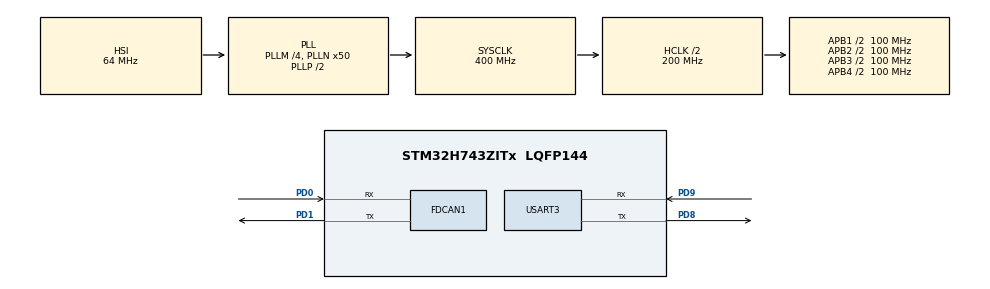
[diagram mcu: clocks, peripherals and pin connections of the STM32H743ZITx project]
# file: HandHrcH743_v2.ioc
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CORTEX_M7.default_mode_Activation=1
FDCAN1.AutoRetransmission=ENABLE
FDCAN1.CalculateBaudRateNominal=1000000
FDCAN1.CalculateTimeBitNominal=1000
FDCAN1.CalculateTimeQuantumNominal=50.0
FDCAN1.DataPrescaler=2
FDCAN1.DataSyncJumpWidth=2
FDCAN1.DataTimeSeg1=7
FDCAN1.DataTimeSeg2=2
FDCAN1.FrameFormat=FDCAN_FRAME_FD_BRS
FDCAN1.NominalPrescaler=5
FDCAN1.NominalSyncJumpWidth=2
FDCAN1.NominalTimeSeg1=13
FDCAN1.NominalTimeSeg2=6
FDCAN1.RxFifo0ElmtSize=FDCAN_DATA_BYTES_48
FDCAN1.RxFifo0ElmtsNbr=4
FDCAN1.RxFifo1ElmtSize=FDCAN_DATA_BYTES_8
FDCAN1.StdFiltersNbr=1
FDCAN1.TxElmtSize=FDCAN_DATA_BYTES_48
FDCAN1.TxFifoQueueElmtsNbr=4
Mcu.Family=STM32H7
Mcu.Name=STM32H743ZITx
Mcu.Package=LQFP144
NVIC.FDCAN1_IT0_IRQn=true\:0\:0\:false\:false\:true\:true\:true\:true
NVIC.PriorityGroup=NVIC_PRIORITYGROUP_4
NVIC.TIM6_DAC_IRQn=true\:0\:0\:false\:false\:true\:true\:true\:true
PD0.Mode=FDCAN_Activate
PD0.Signal=FDCAN1_RX
PD1.Mode=FDCAN_Activate
PD1.Signal=FDCAN1_TX
PD8.Mode=Asynchronous
PD8.Signal=USART3_TX
PD9.Mode=Asynchronous
PD9.Signal=USART3_RX
ProjectManager.HeapSize=0x200
ProjectManager.StackSize=0x400
ProjectManager.TargetToolchain=STM32CubeIDE
RCC.ADCFreq_Value=129000000
RCC.APB1Freq_Value=100000000
RCC.APB2Freq_Value=100000000
RCC.APB3Freq_Value=100000000
RCC.APB4Freq_Value=100000000
RCC.CortexFreq_Value=400000000
RCC.D1PPRE=RCC_APB3_DIV2
RCC.D2PPRE1=RCC_APB1_DIV2
RCC.D2PPRE2=RCC_APB2_DIV2
RCC.D3PPRE=RCC_APB4_DIV2
RCC.DATA_CACHE_ENABLE=1
RCC.DIVM1=4
RCC.DIVN1=50
RCC.DIVQ1=8
RCC.HCLKFreq_Value=200000000
RCC.HPRE=RCC_HCLK_DIV2
RCC.INSTRUCTION_CACHE_ENABLE=1
RCC.PLL1_VCI_Range=RCC_PLL1VCIRANGE_3
RCC.PLL2FRACN=0
RCC.PLL3FRACN=0
RCC.PLLFRACN=0
RCC.PREFETCH_ENABLE=1
RCC.PWREXT_OverDrive=PWREXT_OverDrive_DESACTIVATED
RCC.SYSCLKFreq_VALUE=400000000
RCC.SYSCLKSource=RCC_SYSCLKSOURCE_PLLCLK
RCC.USBFreq_Value=100000000
TIM6.Period=9
TIM6.Prescaler=19999
USART3.VirtualMode-Asynchronous=VM_ASYNC
VP_MEMORYMAP_VS_MEMORYMAP.Mode=CurAppReg
VP_TIM6_VS_ClockSourceINT.Mode=Enable_Timer
board=custom

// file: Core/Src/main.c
/* USER CODE BEGIN Header */
/**
  ******************************************************************************
  * @file           : main.c
  * @brief          : Main program body
  ******************************************************************************
  * @attention
  *
  * Copyright (c) 2026 STMicroelectronics.
  * All rights reserved.
  *
  * This software is licensed under terms that can be found in the LICENSE file
  * in the root directory of this software component.
  * If no LICENSE file comes with this software, it is provided AS-IS.
  *
  ******************************************************************************
  */
/* USER CODE END Header */
#include "main.h"

/* USER CODE BEGIN Includes */
#include <string.h>
#include <stdio.h>

#include "canfd_utils.h"
/* USER CODE END Includes */

FDCAN_HandleTypeDef hfdcan1;

TIM_HandleTypeDef htim6;

UART_HandleTypeDef huart3;

/* USER CODE BEGIN PV */
static uint32_t s_tick_accum = 0;
static uint32_t s_tx_count = 0;
static uint32_t s_tx_1khz_count = 0;
static uint32_t s_last_stats_ms = 0;
/* USER CODE END PV */

void SystemClock_Config(void);
static void MPU_Config(void);
static void MX_GPIO_Init(void);
static void MX_FDCAN1_Init(void);
static void MX_TIM6_Init(void);
static void MX_USART3_UART_Init(void);

int main(void)
{

  /* MPU Configuration--------------------------------------------------------*/
  MPU_Config();

  /* MCU Configuration--------------------------------------------------------*/

  /* Reset of all peripherals, Initializes the Flash interface and the Systick. */
  HAL_Init();

  /* Configure the system clock */
  SystemClock_Config();

  /* Initialize all configured peripherals */
  MX_GPIO_Init();
  MX_FDCAN1_Init();
  MX_TIM6_Init();
  MX_USART3_UART_Init();
  /* USER CODE BEGIN 2 */
  printf("H743_v2 boot\r\n");

  if (!CANFD_Utils_Init(&hfdcan1))
  {
    Error_Handler();
  }

  if (HAL_TIM_Base_Start_IT(&htim6) != HAL_OK)
  {
    Error_Handler();
  }

  // One-time CAN-FD health print (after FDCAN is started).
  {
    FDCAN_ProtocolStatusTypeDef ps;
    FDCAN_ErrorCountersTypeDef ec;
    memset(&ps, 0, sizeof(ps));
    memset(&ec, 0, sizeof(ec));
    if ((HAL_FDCAN_GetProtocolStatus(&hfdcan1, &ps) == HAL_OK) &&
        (HAL_FDCAN_GetErrorCounters(&hfdcan1, &ec) == HAL_OK))
    {
      printf("v2 CAN(init): BO=%lu W=%lu EP=%lu ACT=%lu LEC=%lu DLEC=%lu TEC=%lu REC=%lu\r\n",
             (unsigned long)ps.BusOff,
             (unsigned long)ps.Warning,
             (unsigned long)ps.ErrorPassive,
             (unsigned long)ps.Activity,
             (unsigned long)ps.LastErrorCode,
             (unsigned long)ps.DataLastErrorCode,
             (unsigned long)ec.TxErrorCnt,
             (unsigned long)ec.RxErrorCnt);
    }
    else
    {
      printf("v2 CAN(init): status read failed\r\n");
    }
  }

  /* USER CODE END 2 */

  /* Infinite loop */
  while (1)
  {

    /* USER CODE BEGIN 3 */
    // v1 transmits 15x Motor_TxPDO_t at 1kHz with StdID 0x200..0x20E (48-byte CAN-FD frame).
    // v2 (master) transmits 15x Motor_RxPDO_t at 1kHz with StdID 0x300..0x30E (24-byte CAN-FD frame).

    uint32_t ticks = CANFD_Utils_Consume1kHzTicks();
    if (ticks)
    {
      // Send at 1000 Hz: for each tick, send commands for 15 motors (motor_id 0..14).
      // If we ever miss ticks, cap catch-up to avoid huge bursts.
      uint32_t n_ticks = ticks;
      if (n_ticks > 2U) {
        n_ticks = 2U;
      }

      for (uint32_t t = 0; t < n_ticks; t++)
      {
        for (uint32_t motor_id = 0; motor_id < NUM_MOTORS; motor_id++)
        {
          Motor_RxPDO_t cmd;
          memset(&cmd, 0, sizeof(cmd));
          cmd.torque_enable = 1U;
          cmd.goal_id = (float)motor_id;
          cmd.goal_iq = (float)((s_tx_1khz_count + motor_id) % 1000U) * 0.01f;
          cmd.goal_velocity = 0.0f;
          cmd.goal_position = 0.0f;

          (void)CANFD_Utils_SendMotorRxPDO(&hfdcan1, motor_id, &cmd);
        }
        s_tx_1khz_count++;
      }

      // Print a light heartbeat once per second, not every 1kHz TX.
      s_tick_accum += ticks;
      if (s_tick_accum >= 1000U)
      {
        s_tick_accum -= 1000U;
        s_tx_count++;
        printf("v2 TX RxPDO -> motors=%lu seconds=%lu ticks=%lu\r\n",
               (unsigned long)NUM_MOTORS,
               (unsigned long)s_tx_count,
               (unsigned long)s_tx_1khz_count);
      }
    }

    // 1 Hz RX stats: how many frames we received in the last second.
    uint32_t now_ms = HAL_GetTick();
    if ((uint32_t)(now_ms - s_last_stats_ms) >= 1000U)
    {
      s_last_stats_ms = now_ms;

      __disable_irq();
      uint32_t rx_total = g_rx_frames_total; g_rx_frames_total = 0;
      uint32_t rx_txpdo = g_rx_frames_txpdo; g_rx_frames_txpdo = 0;
      uint32_t rx_other = g_rx_frames_other; g_rx_frames_other = 0;
      __enable_irq();

      printf("v2 RX/s: total=%lu txpdo=%lu other=%lu\r\n",
             (unsigned long)rx_total,
             (unsigned long)rx_txpdo,
             (unsigned long)rx_other);
    }

    // RX is handled in the interrupt: it updates g_robot_input.motor[motor_id] directly.
    // (No flag/polling needed for the real data path.)
  }
  /* USER CODE END 3 */
}

void SystemClock_Config(void)
{
  RCC_OscInitTypeDef RCC_OscInitStruct = {0};
  RCC_ClkInitTypeDef RCC_ClkInitStruct = {0};

  /** Supply configuration update enable
  */
  HAL_PWREx_ConfigSupply(PWR_LDO_SUPPLY);

  /** Configure the main internal regulator output voltage
  */
  __HAL_PWR_VOLTAGESCALING_CONFIG(PWR_REGULATOR_VOLTAGE_SCALE1);

  while(!__HAL_PWR_GET_FLAG(PWR_FLAG_VOSRDY)) {}

  /** Initializes the RCC Oscillators according to the specified parameters
  * in the RCC_OscInitTypeDef structure.
  */
  RCC_OscInitStruct.OscillatorType = RCC_OSCILLATORTYPE_HSI;
  RCC_OscInitStruct.HSIState = RCC_HSI_DIV1;
  RCC_OscInitStruct.HSICalibrationValue = RCC_HSICALIBRATION_DEFAULT;
  RCC_OscInitStruct.PLL.PLLState = RCC_PLL_ON;
  RCC_OscInitStruct.PLL.PLLSource = RCC_PLLSOURCE_HSI;
  RCC_OscInitStruct.PLL.PLLM = 4;
  RCC_OscInitStruct.PLL.PLLN = 50;
  RCC_OscInitStruct.PLL.PLLP = 2;
  RCC_OscInitStruct.PLL.PLLQ = 8;
  RCC_OscInitStruct.PLL.PLLR = 2;
  RCC_OscInitStruct.PLL.PLLRGE = RCC_PLL1VCIRANGE_3;
  RCC_OscInitStruct.PLL.PLLVCOSEL = RCC_PLL1VCOWIDE;
  RCC_OscInitStruct.PLL.PLLFRACN = 0;
  if (HAL_RCC_OscConfig(&RCC_OscInitStruct) != HAL_OK)
  {
    Error_Handler();
  }

  /** Initializes the CPU, AHB and APB buses clocks
  */
  RCC_ClkInitStruct.ClockType = RCC_CLOCKTYPE_HCLK|RCC_CLOCKTYPE_SYSCLK
                              |RCC_CLOCKTYPE_PCLK1|RCC_CLOCKTYPE_PCLK2
                              |RCC_CLOCKTYPE_D3PCLK1|RCC_CLOCKTYPE_D1PCLK1;
  RCC_ClkInitStruct.SYSCLKSource = RCC_SYSCLKSOURCE_PLLCLK;
  RCC_ClkInitStruct.SYSCLKDivider = RCC_SYSCLK_DIV1;
  RCC_ClkInitStruct.AHBCLKDivider = RCC_HCLK_DIV2;
  RCC_ClkInitStruct.APB3CLKDivider = RCC_APB3_DIV2;
  RCC_ClkInitStruct.APB1CLKDivider = RCC_APB1_DIV2;
  RCC_ClkInitStruct.APB2CLKDivider = RCC_APB2_DIV2;
  RCC_ClkInitStruct.APB4CLKDivider = RCC_APB4_DIV2;

  if (HAL_RCC_ClockConfig(&RCC_ClkInitStruct, FLASH_LATENCY_2) != HAL_OK)
  {
    Error_Handler();
  }
}

static void MX_FDCAN1_Init(void)
{

  hfdcan1.Instance = FDCAN1;
  hfdcan1.Init.FrameFormat = FDCAN_FRAME_FD_BRS;
  hfdcan1.Init.Mode = FDCAN_MODE_NORMAL;
  hfdcan1.Init.AutoRetransmission = ENABLE;
  hfdcan1.Init.TransmitPause = DISABLE;
  hfdcan1.Init.ProtocolException = DISABLE;
  hfdcan1.Init.NominalPrescaler = 5;
  hfdcan1.Init.NominalSyncJumpWidth = 2;
  hfdcan1.Init.NominalTimeSeg1 = 13;
  hfdcan1.Init.NominalTimeSeg2 = 6;
  hfdcan1.Init.DataPrescaler = 2;
  hfdcan1.Init.DataSyncJumpWidth = 2;
  hfdcan1.Init.DataTimeSeg1 = 7;
  hfdcan1.Init.DataTimeSeg2 = 2;
  hfdcan1.Init.MessageRAMOffset = 0;
  hfdcan1.Init.StdFiltersNbr = 1;
  hfdcan1.Init.ExtFiltersNbr = 0;
  hfdcan1.Init.RxFifo0ElmtsNbr = 4;
  hfdcan1.Init.RxFifo0ElmtSize = FDCAN_DATA_BYTES_48;
  hfdcan1.Init.RxFifo1ElmtsNbr = 0;
  hfdcan1.Init.RxFifo1ElmtSize = FDCAN_DATA_BYTES_8;
  hfdcan1.Init.RxBuffersNbr = 0;
  hfdcan1.Init.RxBufferSize = FDCAN_DATA_BYTES_8;
  hfdcan1.Init.TxEventsNbr = 0;
  hfdcan1.Init.TxBuffersNbr = 0;
  hfdcan1.Init.TxFifoQueueElmtsNbr = 4;
  hfdcan1.Init.TxFifoQueueMode = FDCAN_TX_FIFO_OPERATION;
  hfdcan1.Init.TxElmtSize = FDCAN_DATA_BYTES_48;
  if (HAL_FDCAN_Init(&hfdcan1) != HAL_OK)
  {
    Error_Handler();
  }

}

static void MX_TIM6_Init(void)
{

  TIM_MasterConfigTypeDef sMasterConfig = {0};

  htim6.Instance = TIM6;
  htim6.Init.Prescaler = 19999;
  htim6.Init.CounterMode = TIM_COUNTERMODE_UP;
  htim6.Init.Period = 9;
  htim6.Init.AutoReloadPreload = TIM_AUTORELOAD_PRELOAD_DISABLE;
  if (HAL_TIM_Base_Init(&htim6) != HAL_OK)
  {
    Error_Handler();
  }
  sMasterConfig.MasterOutputTrigger = TIM_TRGO_RESET;
  sMasterConfig.MasterSlaveMode = TIM_MASTERSLAVEMODE_DISABLE;
  if (HAL_TIMEx_MasterConfigSynchronization(&htim6, &sMasterConfig) != HAL_OK)
  {
    Error_Handler();
  }

}

static void MX_USART3_UART_Init(void)
{

  huart3.Instance = USART3;
  huart3.Init.BaudRate = 115200;
  huart3.Init.WordLength = UART_WORDLENGTH_8B;
  huart3.Init.StopBits = UART_STOPBITS_1;
  huart3.Init.Parity = UART_PARITY_NONE;
  huart3.Init.Mode = UART_MODE_TX_RX;
  huart3.Init.HwFlowCtl = UART_HWCONTROL_NONE;
  huart3.Init.OverSampling = UART_OVERSAMPLING_16;
  huart3.Init.OneBitSampling = UART_ONE_BIT_SAMPLE_DISABLE;
  huart3.Init.ClockPrescaler = UART_PRESCALER_DIV1;
  huart3.AdvancedInit.AdvFeatureInit = UART_ADVFEATURE_NO_INIT;
  if (HAL_UART_Init(&huart3) != HAL_OK)
  {
    Error_Handler();
  }
  if (HAL_UARTEx_SetTxFifoThreshold(&huart3, UART_TXFIFO_THRESHOLD_1_8) != HAL_OK)
  {
    Error_Handler();
  }
  if (HAL_UARTEx_SetRxFifoThreshold(&huart3, UART_RXFIFO_THRESHOLD_1_8) != HAL_OK)
  {
    Error_Handler();
  }
  if (HAL_UARTEx_DisableFifoMode(&huart3) != HAL_OK)
  {
    Error_Handler();
  }

}

static void MX_GPIO_Init(void)
{

  /* GPIO Ports Clock Enable */
  __HAL_RCC_GPIOD_CLK_ENABLE();

}

/* USER CODE BEGIN 4 */
void HAL_TIM_PeriodElapsedCallback(TIM_HandleTypeDef *htim)
{
  if (htim->Instance == TIM6)
  {
    CANFD_Utils_On1kHzTickISR();
  }
}

/* USER CODE END 4 */

 /* MPU Configuration */

void MPU_Config(void)
{
  MPU_Region_InitTypeDef MPU_InitStruct = {0};

  /* Disables the MPU */
  HAL_MPU_Disable();

  /** Initializes and configures the Region and the memory to be protected
  */
  MPU_InitStruct.Enable = MPU_REGION_ENABLE;
  MPU_InitStruct.Number = MPU_REGION_NUMBER0;
  MPU_InitStruct.BaseAddress = 0x0;
  MPU_InitStruct.Size = MPU_REGION_SIZE_4GB;
  MPU_InitStruct.SubRegionDisable = 0x87;
  MPU_InitStruct.TypeExtField = MPU_TEX_LEVEL0;
  MPU_InitStruct.AccessPermission = MPU_REGION_NO_ACCESS;
  MPU_InitStruct.DisableExec = MPU_INSTRUCTION_ACCESS_DISABLE;
  MPU_InitStruct.IsShareable = MPU_ACCESS_SHAREABLE;
  MPU_InitStruct.IsCacheable = MPU_ACCESS_NOT_CACHEABLE;
  MPU_InitStruct.IsBufferable = MPU_ACCESS_NOT_BUFFERABLE;

  HAL_MPU_ConfigRegion(&MPU_InitStruct);
  /* Enables the MPU */
  HAL_MPU_Enable(MPU_PRIVILEGED_DEFAULT);

}

void Error_Handler(void)
{
  __disable_irq();
  while (1)
  {
  }
}
